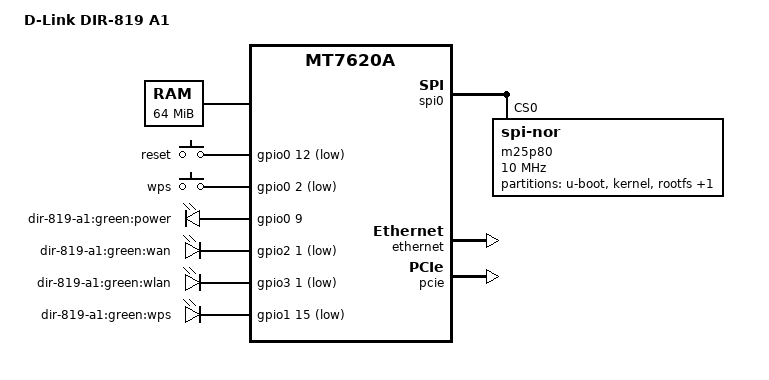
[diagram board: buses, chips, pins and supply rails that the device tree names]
/dts-v1/;

#include "mt7620a.dtsi"

#include <dt-bindings/gpio/gpio.h>
#include <dt-bindings/input/input.h>

/ {
	compatible = "dlink,dir-819-a1", "ralink,mt7620a-soc";
	model = "D-Link DIR-819 A1";

  chosen {
    bootargs = "console=ttyS0,115200";
  };

  memory@0 {
		device_type = "memory";
		reg = <0x0 0x4000000>;
	};

	gpio-keys-polled {
		compatible = "gpio-keys-polled";
		#address-cells = <1>;
		#size-cells = <0>;
		poll-interval = <20>;

		reset {
			label = "reset";
			gpios = <&gpio0 12 GPIO_ACTIVE_LOW>;
			linux,code = <BTN_0>;
		};

		wps {
			label = "wps";
			gpios = <&gpio0 2 GPIO_ACTIVE_LOW>;
			linux,code = <BTN_0>;
		};
	};

	gpio-leds {
		compatible = "gpio-leds";

		power {
			label = "dir-819-a1:green:power";
			gpios = <&gpio0 9 GPIO_ACTIVE_HIGH>;
		};

		wan {
			label = "dir-819-a1:green:wan";
			gpios = <&gpio2 1 GPIO_ACTIVE_LOW>;
		};

		wlan {
			label = "dir-819-a1:green:wlan";
			gpios = <&gpio3 1 GPIO_ACTIVE_LOW>;
		};

		wps {
			label = "dir-819-a1:green:wps";
			gpios = <&gpio1 15 GPIO_ACTIVE_LOW>;
		};
	};

};

&spi0 {
	status = "okay";

	m25p80@0 {
		#address-cells = <1>;
		#size-cells = <1>;
		compatible = "jedec,spi-nor";
		reg = <0>;
		spi-max-frequency = <10000000>;

		partition@0 {
			label = "u-boot";
			reg = <0x0 0x30000>;
			read-only;
		};

		partition@30000 {
			label = "kernel";
			reg = <0x30000 0x1d0000>;
		};

		partition@200000 {
			label = "rootfs";
			reg = <0x200000 0x5e0000>;
		};

		factory: partition@7e0000 {
      label = "factory";
      reg = <0x7e0000 0x20000>;
			read-only;
    };

	};
};

&pinctrl {
	state_default: pinctrl0 {
		gpio {
			ralink,group = "mdio", "rgmii1", "i2c", "wled", "uartf";
			ralink,function = "gpio";
		};
	};
};

&ethernet {
	status = "okay";
	pinctrl-names = "default";
	pinctrl-0 = <&ephy_pins>;
	mediatek,portmap = "llllw";
};

&gsw {
	mediatek,port4 = "ephy";
};

&pcie {
	status = "okay";
};

